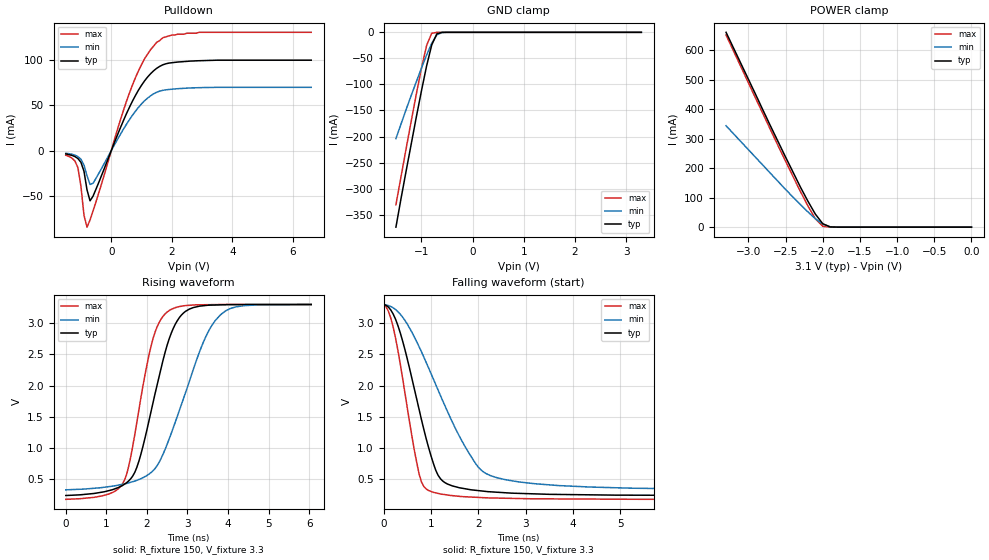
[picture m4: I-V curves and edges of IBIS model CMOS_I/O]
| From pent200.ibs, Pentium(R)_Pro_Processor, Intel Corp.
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[Model]   CMOS_I/O
Model_type  I/O_open_drain
Polarity   Inverting
Enable   Active-Low
Vinl = 0.8
Vinh = 2.0
Vmeas = 1.50
Cref  = 0.00p
Rref  = 150.00
Vref  = 3.30
|Variable   typ   min   max
C_comp   2.6p   2.3p   2.8p
|Variable   typ   min   max
[Voltage range] 3.1   2.845  3.255
|Variable   typ   min   max
[Temperature Range] 80   100   0
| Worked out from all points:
|   slope of the pulldown table from 0 to 0.465 V, typ, clamps not added: 12.3 ohm
|   GND clamp passes 1 mA (typ) near -0.63 V on its own axis
|   POWER clamp passes 1 mA (typ) near -1.90 V on its own axis
|   rising waveform, R_fixture 150, V_fixture 3.3: 20-80 % time 688ps typ, 985ps min, 536ps max; typ from 0.243 V to 3.3 V
|   falling waveform, R_fixture 150, V_fixture 3.3: 20-80 % time 600ps typ, 1.1ns min, 417ps max; typ from 3.3 V to 0.243 V
[Pulldown]
|Volts   typ   min   max
-1.5V     -3.56mA    -2.76mA    -5mA
-1.1V     -8.64mA    -6.48mA    -18.6mA
-1V       -12.8mA    -9.44mA    -39.2mA
-900mV    -22.6mA    -15.8mA    -70.8mA
-800mV    -43mA      -27.6mA    -84mA
-700mV    -55.1mA    -37.1mA    -76.1mA
-600mV    -49.9mA    -35.7mA    -66.1mA
600mV     47.6mA     34mA       63.3mA
1.1V      76.7mA     54.8mA     101mA
1.5V      90.5mA     64.2mA     119mA
2.9V      98.8mA     69.2mA     130mA
6.6V      99.4mA     69.6mA     130mA
[Pullup]
|Volts   typ   min   max
-3.3V     0A         0A         0A
6.6V      0A         0A         0A
[GND_clamp]
|Volts   typ   min   max
-1.5V     -374mA     -204mA     -331mA
-1.3V     -266mA     -148mA     -223mA
-1.1V     -162mA     -94.6mA    -118mA
-1V       -112mA     -68.5mA    -68.7mA
-900mV    -64.5mA    -43.6mA    -25.1mA
-800mV    -24.3mA    -21.1mA    -1.87mA
-700mV    -2.93mA    -4.97mA    -28.1uA
-600mV    -120uA     -332uA     0A
-500mV    -4.5uA     -13.2uA    0A
3.3V      0A         0A         0A
[POWER_clamp]
|Volts   typ   min   max
-3.3V     661mA      344mA      652mA
-2.7V     342mA      182mA      329mA
-2.3V     136mA      76.6mA     121mA
-2.2V     88.4mA     51.9mA     72.2mA
-2.1V     44.5mA     28.9mA     28.8mA
-2V       11.7mA     10.2mA     2.99mA
-1.9V     835uA      1.22mA     53.6uA
-1.8V     32.8uA     62.1uA     0A
0V        0A         0A         0A
[Ramp]
|Variable   typ   min   max
dV/dt_r   1.84/0.65n 1.77/0.65n 1.87/0.53n
dV/dt_f   1.84/0.60n 1.77/0.75n 1.87/0.39n
[Rising Waveform]
R_fixture = 150
V_fixture = 3.3
C_fixture = 0.00pF
|Time   Typ(v)   Min(v)   Max(v)
0s        243mV      334mV      182mV
1.4ns     404mV      NA         431mV
1.55ns    477mV      NA         709mV
1.8ns     789mV      NA         NA
2.2ns     1.872V     675mV      2.857V
2.5ns     2.653V     1.066V     3.18V
2.9ns     3.163V     NA         NA
3.5ns     3.288V     2.85V      NA
4ns       3.298V     NA         3.3V
6.05ns    3.3V       3.3V       3.3V
[Falling Waveform]
R_fixture = 150
V_fixture = 3.3
C_fixture = 0.00pF
|Time   Typ(v)   Min(v)   Max(v)
0s        3.3V       3.3V       3.3V
150ps     3.213V     3.268V     3.084V
350ps     2.848V     3.146V     2.351V
650ps     1.943V     NA         961mV
800ps     1.452V     2.541V     457mV
950ps     1.008V     2.283V     323mV
1.25ns    473mV      1.754V     NA
1.85ns    334mV      NA         NA
2.2ns     305mV      NA         205mV
9ns       243mV      334mV      182mV
